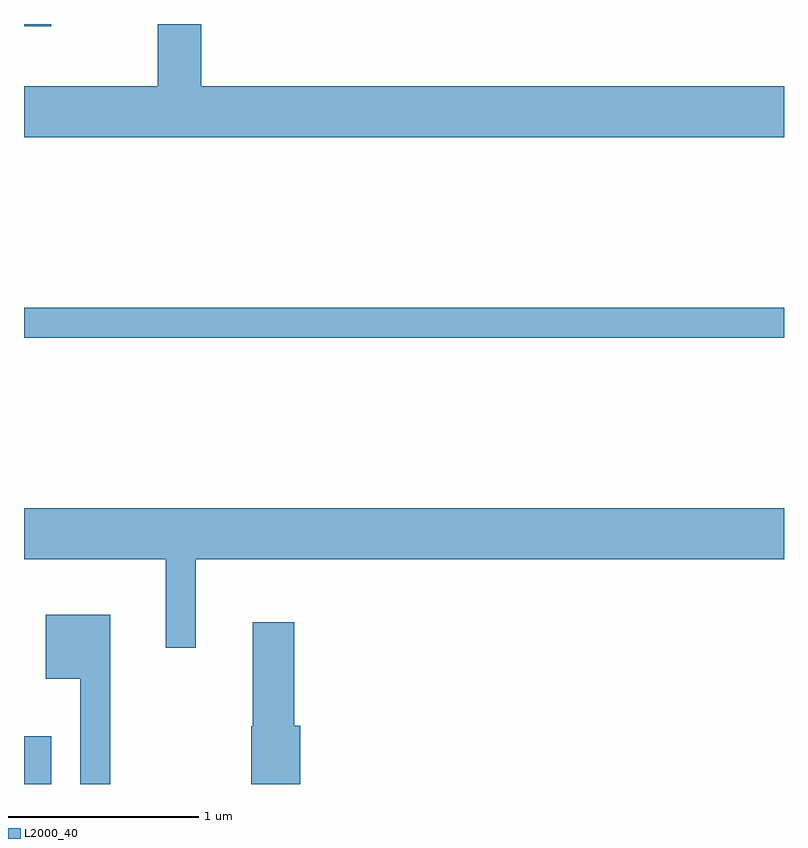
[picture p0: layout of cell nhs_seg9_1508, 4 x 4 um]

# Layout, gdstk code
import gdstk
lib = gdstk.Library(unit=1e-6, precision=1e-09)
def R(c, l, rs):  # rectangles x0, y0, x1, y1
    for r in rs: c.add(gdstk.rectangle(r[:2], r[2:], *l))
def P(c, l, *ps):  # polygons
    for p in ps: c.add(gdstk.Polygon(p, *l))
L2000_40 = (2000, 40)

nhs_seg9_1508 = lib.new_cell('nhs_seg9_1508')
R(nhs_seg9_1508, L2000_40, [(229.611,1968.432,229.754,1968.683), (229.611,1970.781,233.611,1970.939), (229.611,1972.421,229.754,1972.432)])
P(nhs_seg9_1508, L2000_40, [(233.611,1972.104),(230.544,1972.104),(230.544,1972.432),(230.316,1972.432),(230.316,1972.104),(229.611,1972.104),(229.611,1971.836),(233.611,1971.836)],
  [(230.514,1969.616),(233.611,1969.616),(233.611,1969.884),(229.611,1969.884),(229.611,1969.616),(230.356,1969.616),(230.356,1969.148),(230.514,1969.148)],
  [(230.064,1969.324),(229.726,1969.324),(229.726,1968.986),(229.906,1968.986),(229.906,1968.432),(230.064,1968.432)],
  [(231.064,1968.739),(231.034,1968.739),(231.034,1969.284),(230.816,1969.284),(230.816,1968.735),(230.806,1968.735),(230.806,1968.432),(231.064,1968.432)])

lib.write_gds('nhs_seg9_1508.gds')
